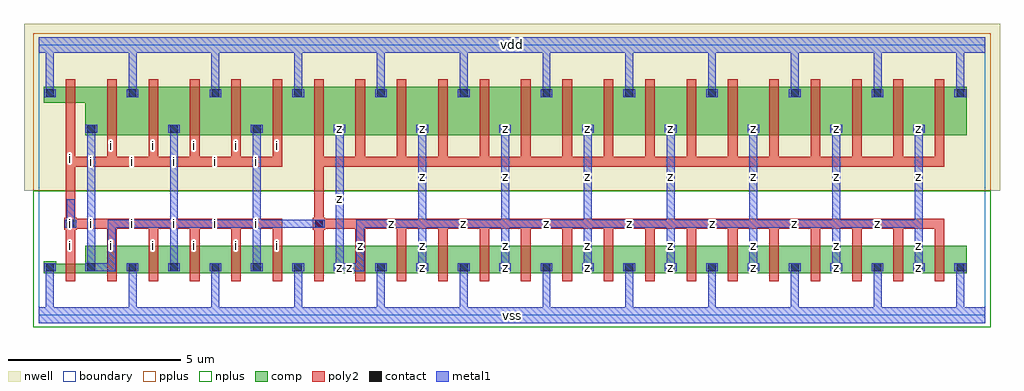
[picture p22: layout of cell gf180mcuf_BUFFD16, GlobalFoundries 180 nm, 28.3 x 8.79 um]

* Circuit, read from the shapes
.subckt gf180mcuf_BUFFD16 i vdd vss z
XM1 n1 i vss VSUBS nfet_03v3 w=0.28u l=0.28u
XM2 vss i n1 VSUBS nfet_03v3 w=0.8u l=0.28u m=5
XM3 z n1 vss VSUBS nfet_03v3 w=0.8u l=0.28u m=16
XM4 n1 i vdd n2 pfet_03v3 w=0.465u l=0.28u
XM5 vdd i n1 n2 pfet_03v3 w=1.4u l=0.28u m=5
XM6 z n1 vdd n2 pfet_03v3 w=1.4u l=0.28u m=16
.ends

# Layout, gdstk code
import gdstk
lib = gdstk.Library(unit=1e-6, precision=1e-09)
def R(c, l, rs):  # rectangles x0, y0, x1, y1
    for r in rs: c.add(gdstk.rectangle(r[:2], r[2:], *l))
def A(c, l, x, y, w, h, nx, ny, dx, dy):  # array of equal rectangles
    R(c, l, [(x+i*dx, y+j*dy, x+i*dx+w, y+j*dy+h) for i in range(nx) for j in range(ny)])
boundary = (0, 0)
nwell = (21, 0)
comp = (22, 0)
poly2 = (30, 0)
pplus = (31, 0)
nplus = (32, 0)
contact = (33, 0)
metal1 = (34, 0)

gf180mcuf_buffd16 = lib.new_cell('gf180mcuf_BUFFD16')
R(gf180mcuf_buffd16, boundary, [(0,0,27.44,7.84)])
R(gf180mcuf_buffd16, nwell, [(-0.43,3.62,27.87,8.45)])
A(gf180mcuf_buffd16, comp, 0.14, 1.215, 0.36, 0.36, 23, 1, 1.2, 0)
A(gf180mcuf_buffd16, comp, 1.34, 1.215, 1.56, 0.8, 21, 1, 1.2, 0)
A(gf180mcuf_buffd16, comp, 1.34, 5.225, 1.56, 1.4, 21, 1, 1.2, 0)
A(gf180mcuf_buffd16, comp, 1.34, 5.225, 0.36, 0.36, 11, 1, 2.4, 0)
A(gf180mcuf_buffd16, comp, 0.14, 6.265, 0.36, 0.36, 12, 1, 2.4, 0)
R(gf180mcuf_buffd16, comp, [(0.14,1.215,1.7,1.495), (0.14,6.16,1.7,6.625)])
A(gf180mcuf_buffd16, poly2, 1.98, 0.995, 0.28, 1.24, 21, 1, 1.2, 0)
A(gf180mcuf_buffd16, poly2, 0.78, 1.255, 0.28, 1.54, 22, 1, 1.2, 0)
A(gf180mcuf_buffd16, poly2, 0.78, 2.515, 1.48, 0.28, 5, 2, 1.2, 1.8)
A(gf180mcuf_buffd16, poly2, 7.98, 2.515, 1.48, 0.28, 15, 2, 1.2, 1.8)
A(gf180mcuf_buffd16, poly2, 1.98, 4.315, 0.28, 1.23, 5, 1, 1.2, 0)
A(gf180mcuf_buffd16, poly2, 9.18, 4.315, 0.28, 1.23, 15, 1, 1.2, 0)
A(gf180mcuf_buffd16, poly2, 1.98, 5.005, 0.28, 1.84, 21, 1, 1.2, 0)
R(gf180mcuf_buffd16, poly2, [(0.78,0.995,1.06,1.715), (0.74,2.475,1.1,2.835), (7.94,2.475,8.3,2.835), (0.78,2.515,1.06,6.585), (7.98,2.515,8.26,5.545), (0.78,5.94,1.06,6.845)])
R(gf180mcuf_buffd16, pplus, [(-0.16,3.62,27.6,7.5), (-0.16,7.5,27.6,8.18)])
R(gf180mcuf_buffd16, nplus, [(-0.16,-0.34,27.6,0.34), (-0.16,0.34,27.6,3.62)])
A(gf180mcuf_buffd16, contact, 0.21, 1.285, 0.22, 0.22, 23, 1, 1.2, 0)
A(gf180mcuf_buffd16, contact, 1.41, 5.295, 0.22, 0.22, 11, 1, 2.4, 0)
A(gf180mcuf_buffd16, contact, 0.21, 6.335, 0.22, 0.22, 12, 1, 2.4, 0)
R(gf180mcuf_buffd16, contact, [(0.81,2.545,1.03,2.765), (8.01,2.545,8.23,2.765)])
A(gf180mcuf_buffd16, metal1, 0.205, 0.065, 0.23, 1.445, 12, 2, 2.4, 6.265)
A(gf180mcuf_buffd16, metal1, 0.15, 1.28, 0.34, 0.23, 23, 1, 1.2, 0)
A(gf180mcuf_buffd16, metal1, 11.005, 1.28, 0.23, 1.49, 7, 1, 2.4, 0)
A(gf180mcuf_buffd16, metal1, 11.005, 2.54, 0.23, 2.98, 7, 1, 2.4, 0)
A(gf180mcuf_buffd16, metal1, 11.005, 2.54, 2.63, 0.23, 6, 1, 2.4, 0)
A(gf180mcuf_buffd16, metal1, 1.35, 5.29, 0.34, 0.23, 11, 1, 2.4, 0)
A(gf180mcuf_buffd16, metal1, 0.15, 6.33, 0.34, 0.23, 12, 1, 2.4, 0)
R(gf180mcuf_buffd16, metal1, [(0,-0.23,27.44,0.23), (1.405,1.28,1.635,5.52), (1.405,1.28,2.235,1.51), (2.005,1.28,2.235,2.77), (3.805,1.28,4.035,2.77), (6.205,1.28,6.435,2.77), (8.605,1.28,8.835,5.52), (8.605,1.28,9.435,1.51), (9.205,1.28,9.435,2.77), (0.75,2.54,1.09,2.77), (0.805,2.54,1.035,3.37), (2.005,2.54,4.035,2.77), (3.805,2.54,4.035,5.52), (3.805,2.54,6.435,2.77), (6.205,2.54,6.435,5.52), (6.205,2.54,8.235,2.77), (7.95,2.54,8.29,2.77), (9.205,2.54,11.235,2.77), (0,7.61,27.44,8.07)])
gf180mcuf_buffd16.add(gdstk.FlexPath([(0.14,0.575),(26.9,0.575)], 0, ends="flush", simple_path=True, layer=0, datatype=0))  # boundary
gf180mcuf_buffd16.add(gdstk.FlexPath([(0.14,1.395),(26.9,1.395)], 0, ends="flush", simple_path=True, layer=0, datatype=0))  # boundary
gf180mcuf_buffd16.add(gdstk.FlexPath([(0.14,2.655),(26.9,2.655)], 0, ends="flush", simple_path=True, layer=0, datatype=0))  # boundary
gf180mcuf_buffd16.add(gdstk.FlexPath([(0.14,3.255),(26.9,3.255)], 0, ends="flush", simple_path=True, layer=0, datatype=0))  # boundary
gf180mcuf_buffd16.add(gdstk.FlexPath([(0.14,3.855),(26.9,3.855)], 0, ends="flush", simple_path=True, layer=0, datatype=0))  # boundary
gf180mcuf_buffd16.add(gdstk.FlexPath([(0.14,4.455),(26.9,4.455)], 0, ends="flush", simple_path=True, layer=0, datatype=0))  # boundary
gf180mcuf_buffd16.add(gdstk.FlexPath([(0.14,5.405),(26.9,5.405)], 0, ends="flush", simple_path=True, layer=0, datatype=0))  # boundary
gf180mcuf_buffd16.add(gdstk.FlexPath([(0.14,6.445),(26.9,6.445)], 0, ends="flush", simple_path=True, layer=0, datatype=0))  # boundary
gf180mcuf_buffd16.add(gdstk.FlexPath([(0.14,7.265),(26.9,7.265)], 0, ends="flush", simple_path=True, layer=0, datatype=0))  # boundary
gf180mcuf_buffd16.add(gdstk.FlexPath([(0.32,0.065),(0.32,7.775)], 0, ends="flush", simple_path=True, layer=0, datatype=0))  # boundary
gf180mcuf_buffd16.add(gdstk.FlexPath([(0.92,0.065),(0.92,7.775)], 0, ends="flush", simple_path=True, layer=0, datatype=0))  # boundary
gf180mcuf_buffd16.add(gdstk.FlexPath([(1.52,0.065),(1.52,7.775)], 0, ends="flush", simple_path=True, layer=0, datatype=0))  # boundary
gf180mcuf_buffd16.add(gdstk.FlexPath([(2.12,0.065),(2.12,7.775)], 0, ends="flush", simple_path=True, layer=0, datatype=0))  # boundary
gf180mcuf_buffd16.add(gdstk.FlexPath([(2.72,0.065),(2.72,7.775)], 0, ends="flush", simple_path=True, layer=0, datatype=0))  # boundary
gf180mcuf_buffd16.add(gdstk.FlexPath([(3.32,0.065),(3.32,7.775)], 0, ends="flush", simple_path=True, layer=0, datatype=0))  # boundary
gf180mcuf_buffd16.add(gdstk.FlexPath([(3.92,0.065),(3.92,7.775)], 0, ends="flush", simple_path=True, layer=0, datatype=0))  # boundary
gf180mcuf_buffd16.add(gdstk.FlexPath([(4.52,0.065),(4.52,7.775)], 0, ends="flush", simple_path=True, layer=0, datatype=0))  # boundary
gf180mcuf_buffd16.add(gdstk.FlexPath([(5.12,0.065),(5.12,7.775)], 0, ends="flush", simple_path=True, layer=0, datatype=0))  # boundary
gf180mcuf_buffd16.add(gdstk.FlexPath([(5.72,0.065),(5.72,7.775)], 0, ends="flush", simple_path=True, layer=0, datatype=0))  # boundary
gf180mcuf_buffd16.add(gdstk.FlexPath([(6.32,0.065),(6.32,7.775)], 0, ends="flush", simple_path=True, layer=0, datatype=0))  # boundary
gf180mcuf_buffd16.add(gdstk.FlexPath([(6.92,0.065),(6.92,7.775)], 0, ends="flush", simple_path=True, layer=0, datatype=0))  # boundary
gf180mcuf_buffd16.add(gdstk.FlexPath([(7.52,0.065),(7.52,7.775)], 0, ends="flush", simple_path=True, layer=0, datatype=0))  # boundary
gf180mcuf_buffd16.add(gdstk.FlexPath([(8.12,0.065),(8.12,7.775)], 0, ends="flush", simple_path=True, layer=0, datatype=0))  # boundary
gf180mcuf_buffd16.add(gdstk.FlexPath([(8.72,0.065),(8.72,7.775)], 0, ends="flush", simple_path=True, layer=0, datatype=0))  # boundary
gf180mcuf_buffd16.add(gdstk.FlexPath([(9.32,0.065),(9.32,7.775)], 0, ends="flush", simple_path=True, layer=0, datatype=0))  # boundary
gf180mcuf_buffd16.add(gdstk.FlexPath([(9.92,0.065),(9.92,7.775)], 0, ends="flush", simple_path=True, layer=0, datatype=0))  # boundary
gf180mcuf_buffd16.add(gdstk.FlexPath([(10.52,0.065),(10.52,7.775)], 0, ends="flush", simple_path=True, layer=0, datatype=0))  # boundary
gf180mcuf_buffd16.add(gdstk.FlexPath([(11.12,0.065),(11.12,7.775)], 0, ends="flush", simple_path=True, layer=0, datatype=0))  # boundary
gf180mcuf_buffd16.add(gdstk.FlexPath([(11.72,0.065),(11.72,7.775)], 0, ends="flush", simple_path=True, layer=0, datatype=0))  # boundary
gf180mcuf_buffd16.add(gdstk.FlexPath([(12.32,0.065),(12.32,7.775)], 0, ends="flush", simple_path=True, layer=0, datatype=0))  # boundary
gf180mcuf_buffd16.add(gdstk.FlexPath([(12.92,0.065),(12.92,7.775)], 0, ends="flush", simple_path=True, layer=0, datatype=0))  # boundary
gf180mcuf_buffd16.add(gdstk.FlexPath([(13.52,0.065),(13.52,7.775)], 0, ends="flush", simple_path=True, layer=0, datatype=0))  # boundary
gf180mcuf_buffd16.add(gdstk.FlexPath([(14.12,0.065),(14.12,7.775)], 0, ends="flush", simple_path=True, layer=0, datatype=0))  # boundary
gf180mcuf_buffd16.add(gdstk.FlexPath([(14.72,0.065),(14.72,7.775)], 0, ends="flush", simple_path=True, layer=0, datatype=0))  # boundary
gf180mcuf_buffd16.add(gdstk.FlexPath([(15.32,0.065),(15.32,7.775)], 0, ends="flush", simple_path=True, layer=0, datatype=0))  # boundary
gf180mcuf_buffd16.add(gdstk.FlexPath([(15.92,0.065),(15.92,7.775)], 0, ends="flush", simple_path=True, layer=0, datatype=0))  # boundary
gf180mcuf_buffd16.add(gdstk.FlexPath([(16.52,0.065),(16.52,7.775)], 0, ends="flush", simple_path=True, layer=0, datatype=0))  # boundary
gf180mcuf_buffd16.add(gdstk.FlexPath([(17.12,0.065),(17.12,7.775)], 0, ends="flush", simple_path=True, layer=0, datatype=0))  # boundary
gf180mcuf_buffd16.add(gdstk.FlexPath([(17.72,0.065),(17.72,7.775)], 0, ends="flush", simple_path=True, layer=0, datatype=0))  # boundary
gf180mcuf_buffd16.add(gdstk.FlexPath([(18.32,0.065),(18.32,7.775)], 0, ends="flush", simple_path=True, layer=0, datatype=0))  # boundary
gf180mcuf_buffd16.add(gdstk.FlexPath([(18.92,0.065),(18.92,7.775)], 0, ends="flush", simple_path=True, layer=0, datatype=0))  # boundary
gf180mcuf_buffd16.add(gdstk.FlexPath([(19.52,0.065),(19.52,7.775)], 0, ends="flush", simple_path=True, layer=0, datatype=0))  # boundary
gf180mcuf_buffd16.add(gdstk.FlexPath([(20.12,0.065),(20.12,7.775)], 0, ends="flush", simple_path=True, layer=0, datatype=0))  # boundary
gf180mcuf_buffd16.add(gdstk.FlexPath([(20.72,0.065),(20.72,7.775)], 0, ends="flush", simple_path=True, layer=0, datatype=0))  # boundary
gf180mcuf_buffd16.add(gdstk.FlexPath([(21.32,0.065),(21.32,7.775)], 0, ends="flush", simple_path=True, layer=0, datatype=0))  # boundary
gf180mcuf_buffd16.add(gdstk.FlexPath([(21.92,0.065),(21.92,7.775)], 0, ends="flush", simple_path=True, layer=0, datatype=0))  # boundary
gf180mcuf_buffd16.add(gdstk.FlexPath([(22.52,0.065),(22.52,7.775)], 0, ends="flush", simple_path=True, layer=0, datatype=0))  # boundary
gf180mcuf_buffd16.add(gdstk.FlexPath([(23.12,0.065),(23.12,7.775)], 0, ends="flush", simple_path=True, layer=0, datatype=0))  # boundary
gf180mcuf_buffd16.add(gdstk.FlexPath([(23.72,0.065),(23.72,7.775)], 0, ends="flush", simple_path=True, layer=0, datatype=0))  # boundary
gf180mcuf_buffd16.add(gdstk.FlexPath([(24.32,0.065),(24.32,7.775)], 0, ends="flush", simple_path=True, layer=0, datatype=0))  # boundary
gf180mcuf_buffd16.add(gdstk.FlexPath([(24.92,0.065),(24.92,7.775)], 0, ends="flush", simple_path=True, layer=0, datatype=0))  # boundary
gf180mcuf_buffd16.add(gdstk.FlexPath([(25.52,0.065),(25.52,7.775)], 0, ends="flush", simple_path=True, layer=0, datatype=0))  # boundary
gf180mcuf_buffd16.add(gdstk.FlexPath([(26.12,0.065),(26.12,7.775)], 0, ends="flush", simple_path=True, layer=0, datatype=0))  # boundary
gf180mcuf_buffd16.add(gdstk.FlexPath([(26.72,0.065),(26.72,7.775)], 0, ends="flush", simple_path=True, layer=0, datatype=0))  # boundary
gf180mcuf_buffd16.add(gdstk.Label('z', (8.72,1.395), layer=22, texttype=0))
gf180mcuf_buffd16.add(gdstk.Label('z', (11.12,1.395), layer=22, texttype=0))
gf180mcuf_buffd16.add(gdstk.Label('z', (13.52,1.395), layer=22, texttype=0))
gf180mcuf_buffd16.add(gdstk.Label('z', (15.92,1.395), layer=22, texttype=0))
gf180mcuf_buffd16.add(gdstk.Label('z', (18.32,1.395), layer=22, texttype=0))
gf180mcuf_buffd16.add(gdstk.Label('z', (20.72,1.395), layer=22, texttype=0))
gf180mcuf_buffd16.add(gdstk.Label('z', (23.12,1.395), layer=22, texttype=0))
gf180mcuf_buffd16.add(gdstk.Label('z', (25.52,1.395), layer=22, texttype=0))
gf180mcuf_buffd16.add(gdstk.Label('z', (8.72,5.405), layer=22, texttype=0))
gf180mcuf_buffd16.add(gdstk.Label('z', (11.12,5.405), layer=22, texttype=0))
gf180mcuf_buffd16.add(gdstk.Label('z', (13.52,5.405), layer=22, texttype=0))
gf180mcuf_buffd16.add(gdstk.Label('z', (15.92,5.405), layer=22, texttype=0))
gf180mcuf_buffd16.add(gdstk.Label('z', (18.32,5.405), layer=22, texttype=0))
gf180mcuf_buffd16.add(gdstk.Label('z', (20.72,5.405), layer=22, texttype=0))
gf180mcuf_buffd16.add(gdstk.Label('z', (23.12,5.405), layer=22, texttype=0))
gf180mcuf_buffd16.add(gdstk.Label('z', (25.52,5.405), layer=22, texttype=0))
gf180mcuf_buffd16.add(gdstk.Label('i', (0.92,2.025), layer=30, texttype=0))
gf180mcuf_buffd16.add(gdstk.Label('i', (1.52,2.655), layer=30, texttype=0))
gf180mcuf_buffd16.add(gdstk.Label('i', (2.12,2.025), layer=30, texttype=0))
gf180mcuf_buffd16.add(gdstk.Label('i', (2.72,2.655), layer=30, texttype=0))
gf180mcuf_buffd16.add(gdstk.Label('i', (3.32,2.025), layer=30, texttype=0))
gf180mcuf_buffd16.add(gdstk.Label('i', (3.92,2.655), layer=30, texttype=0))
gf180mcuf_buffd16.add(gdstk.Label('i', (4.52,2.025), layer=30, texttype=0))
gf180mcuf_buffd16.add(gdstk.Label('i', (5.12,2.655), layer=30, texttype=0))
gf180mcuf_buffd16.add(gdstk.Label('i', (5.72,2.025), layer=30, texttype=0))
gf180mcuf_buffd16.add(gdstk.Label('i', (6.32,2.655), layer=30, texttype=0))
gf180mcuf_buffd16.add(gdstk.Label('i', (6.92,2.025), layer=30, texttype=0))
gf180mcuf_buffd16.add(gdstk.Label('i', (0.92,4.55), layer=30, texttype=0))
gf180mcuf_buffd16.add(gdstk.Label('i', (1.52,4.455), layer=30, texttype=0))
gf180mcuf_buffd16.add(gdstk.Label('i', (2.12,4.93), layer=30, texttype=0))
gf180mcuf_buffd16.add(gdstk.Label('i', (2.72,4.455), layer=30, texttype=0))
gf180mcuf_buffd16.add(gdstk.Label('i', (3.32,4.93), layer=30, texttype=0))
gf180mcuf_buffd16.add(gdstk.Label('i', (3.92,4.455), layer=30, texttype=0))
gf180mcuf_buffd16.add(gdstk.Label('i', (4.52,4.93), layer=30, texttype=0))
gf180mcuf_buffd16.add(gdstk.Label('i', (5.12,4.455), layer=30, texttype=0))
gf180mcuf_buffd16.add(gdstk.Label('i', (5.72,4.93), layer=30, texttype=0))
gf180mcuf_buffd16.add(gdstk.Label('i', (6.32,4.455), layer=30, texttype=0))
gf180mcuf_buffd16.add(gdstk.Label('i', (6.92,4.93), layer=30, texttype=0))
gf180mcuf_buffd16.add(gdstk.Label('i', (0.92,2.655), layer=30, texttype=0))
gf180mcuf_buffd16.add(gdstk.Label('i', (0.92,2.655), layer=33, texttype=0))
gf180mcuf_buffd16.add(gdstk.Label('z', (8.72,1.395), layer=33, texttype=0))
gf180mcuf_buffd16.add(gdstk.Label('z', (11.12,1.395), layer=33, texttype=0))
gf180mcuf_buffd16.add(gdstk.Label('z', (13.52,1.395), layer=33, texttype=0))
gf180mcuf_buffd16.add(gdstk.Label('z', (15.92,1.395), layer=33, texttype=0))
gf180mcuf_buffd16.add(gdstk.Label('z', (18.32,1.395), layer=33, texttype=0))
gf180mcuf_buffd16.add(gdstk.Label('z', (20.72,1.395), layer=33, texttype=0))
gf180mcuf_buffd16.add(gdstk.Label('z', (23.12,1.395), layer=33, texttype=0))
gf180mcuf_buffd16.add(gdstk.Label('z', (25.52,1.395), layer=33, texttype=0))
gf180mcuf_buffd16.add(gdstk.Label('z', (8.72,5.405), layer=33, texttype=0))
gf180mcuf_buffd16.add(gdstk.Label('z', (11.12,5.405), layer=33, texttype=0))
gf180mcuf_buffd16.add(gdstk.Label('z', (13.52,5.405), layer=33, texttype=0))
gf180mcuf_buffd16.add(gdstk.Label('z', (15.92,5.405), layer=33, texttype=0))
gf180mcuf_buffd16.add(gdstk.Label('z', (18.32,5.405), layer=33, texttype=0))
gf180mcuf_buffd16.add(gdstk.Label('z', (20.72,5.405), layer=33, texttype=0))
gf180mcuf_buffd16.add(gdstk.Label('z', (23.12,5.405), layer=33, texttype=0))
gf180mcuf_buffd16.add(gdstk.Label('z', (25.52,5.405), layer=33, texttype=0))
gf180mcuf_buffd16.add(gdstk.Label('i', (0.92,2.655), layer=34, texttype=10))
gf180mcuf_buffd16.add(gdstk.Label('i', (0.92,2.955), layer=34, texttype=10))
gf180mcuf_buffd16.add(gdstk.Label('z', (8.72,1.395), layer=34, texttype=10))
gf180mcuf_buffd16.add(gdstk.Label('z', (11.12,1.395), layer=34, texttype=10))
gf180mcuf_buffd16.add(gdstk.Label('z', (13.52,1.395), layer=34, texttype=10))
gf180mcuf_buffd16.add(gdstk.Label('z', (15.92,1.395), layer=34, texttype=10))
gf180mcuf_buffd16.add(gdstk.Label('z', (18.32,1.395), layer=34, texttype=10))
gf180mcuf_buffd16.add(gdstk.Label('z', (20.72,1.395), layer=34, texttype=10))
gf180mcuf_buffd16.add(gdstk.Label('z', (23.12,1.395), layer=34, texttype=10))
gf180mcuf_buffd16.add(gdstk.Label('z', (25.52,1.395), layer=34, texttype=10))
gf180mcuf_buffd16.add(gdstk.Label('z', (8.72,5.405), layer=34, texttype=10))
gf180mcuf_buffd16.add(gdstk.Label('z', (11.12,5.405), layer=34, texttype=10))
gf180mcuf_buffd16.add(gdstk.Label('z', (13.52,5.405), layer=34, texttype=10))
gf180mcuf_buffd16.add(gdstk.Label('z', (15.92,5.405), layer=34, texttype=10))
gf180mcuf_buffd16.add(gdstk.Label('z', (18.32,5.405), layer=34, texttype=10))
gf180mcuf_buffd16.add(gdstk.Label('z', (20.72,5.405), layer=34, texttype=10))
gf180mcuf_buffd16.add(gdstk.Label('z', (23.12,5.405), layer=34, texttype=10))
gf180mcuf_buffd16.add(gdstk.Label('z', (25.52,5.405), layer=34, texttype=10))
gf180mcuf_buffd16.add(gdstk.Label('z', (9.02,1.395), layer=34, texttype=10))
gf180mcuf_buffd16.add(gdstk.Label('z', (9.32,2.025), layer=34, texttype=10))
gf180mcuf_buffd16.add(gdstk.Label('z', (10.22,2.655), layer=34, texttype=10))
gf180mcuf_buffd16.add(gdstk.Label('z', (11.12,2.025), layer=34, texttype=10))
gf180mcuf_buffd16.add(gdstk.Label('z', (12.32,2.655), layer=34, texttype=10))
gf180mcuf_buffd16.add(gdstk.Label('z', (13.52,2.025), layer=34, texttype=10))
gf180mcuf_buffd16.add(gdstk.Label('z', (14.72,2.655), layer=34, texttype=10))
gf180mcuf_buffd16.add(gdstk.Label('z', (15.92,2.025), layer=34, texttype=10))
gf180mcuf_buffd16.add(gdstk.Label('z', (17.12,2.655), layer=34, texttype=10))
gf180mcuf_buffd16.add(gdstk.Label('z', (18.32,2.025), layer=34, texttype=10))
gf180mcuf_buffd16.add(gdstk.Label('z', (19.52,2.655), layer=34, texttype=10))
gf180mcuf_buffd16.add(gdstk.Label('z', (20.72,2.025), layer=34, texttype=10))
gf180mcuf_buffd16.add(gdstk.Label('z', (21.92,2.655), layer=34, texttype=10))
gf180mcuf_buffd16.add(gdstk.Label('z', (23.12,2.025), layer=34, texttype=10))
gf180mcuf_buffd16.add(gdstk.Label('z', (24.32,2.655), layer=34, texttype=10))
gf180mcuf_buffd16.add(gdstk.Label('z', (25.52,2.025), layer=34, texttype=10))
gf180mcuf_buffd16.add(gdstk.Label('z', (8.72,3.4), layer=34, texttype=10))
gf180mcuf_buffd16.add(gdstk.Label('z', (11.12,4.03), layer=34, texttype=10))
gf180mcuf_buffd16.add(gdstk.Label('z', (13.52,4.03), layer=34, texttype=10))
gf180mcuf_buffd16.add(gdstk.Label('z', (15.92,4.03), layer=34, texttype=10))
gf180mcuf_buffd16.add(gdstk.Label('z', (18.32,4.03), layer=34, texttype=10))
gf180mcuf_buffd16.add(gdstk.Label('z', (20.72,4.03), layer=34, texttype=10))
gf180mcuf_buffd16.add(gdstk.Label('z', (23.12,4.03), layer=34, texttype=10))
gf180mcuf_buffd16.add(gdstk.Label('z', (25.52,4.03), layer=34, texttype=10))
gf180mcuf_buffd16.add(gdstk.Label('vss', (13.72,0), layer=34, texttype=10))
gf180mcuf_buffd16.add(gdstk.Label('vdd', (13.72,7.84), layer=34, texttype=10))

lib.write_gds('gf180mcuf_BUFFD16.gds')
